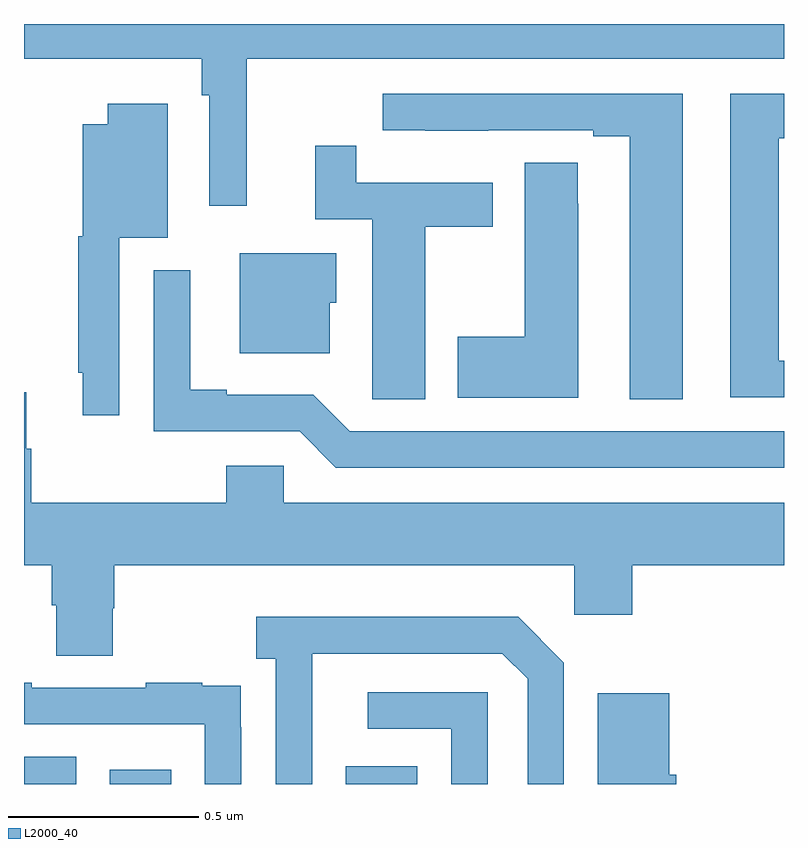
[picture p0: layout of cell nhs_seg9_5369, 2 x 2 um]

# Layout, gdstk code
import gdstk
lib = gdstk.Library(unit=1e-6, precision=1e-09)
def R(c, l, rs):  # rectangles x0, y0, x1, y1
    for r in rs: c.add(gdstk.rectangle(r[:2], r[2:], *l))
def P(c, l, *ps):  # polygons
    for p in ps: c.add(gdstk.Polygon(p, *l))
L2000_40 = (2000, 40)

nhs_seg9_5369 = lib.new_cell('nhs_seg9_5369')
R(nhs_seg9_5369, L2000_40, [(178,1206.5,178.138,1206.572), (178.226,1206.5,178.387,1206.538), (178.847,1206.5,179.035,1206.547)])
P(nhs_seg9_5369, L2000_40, [(178.586,1208.408),(180,1208.408),(180,1208.5),(178,1208.5),(178,1208.408),(178.468,1208.408),(178.468,1208.312),(178.488,1208.312),(178.488,1208.022),(178.586,1208.022)],
  [(180,1207.614),(179.986,1207.614),(179.986,1208.2),(180,1208.2),(180,1208.316),(179.858,1208.316),(179.858,1207.518),(180,1207.518)],
  [(179.734,1208.316),(178.944,1208.316),(178.944,1208.22),(179.056,1208.22),(179.056,1208.219),(179.222,1208.219),(179.222,1208.22),(179.498,1208.22),(179.498,1208.205),(179.594,1208.205),(179.594,1207.513),(179.734,1207.513)],
  [(178.251,1207.937),(178.378,1207.937),(178.378,1208.29),(178.22,1208.29),(178.22,1208.236),(178.154,1208.236),(178.154,1207.941),(178.143,1207.941),(178.143,1207.582),(178.154,1207.582),(178.154,1207.47),(178.251,1207.47)],
  [(179.056,1207.966),(179.233,1207.966),(179.233,1208.082),(178.874,1208.082),(178.874,1208.179),(178.766,1208.179),(178.766,1207.986),(178.916,1207.986),(178.916,1207.624),(178.917,1207.624),(178.917,1207.513),(179.056,1207.513)],
  [(179.458,1208.027),(179.457,1208.027),(179.457,1208.135),(179.318,1208.135),(179.318,1207.677),(179.141,1207.677),(179.141,1207.517),(179.458,1207.517)],
  [(178.804,1207.767),(178.822,1207.767),(178.822,1207.897),(178.568,1207.897),(178.568,1207.634),(178.804,1207.634)],
  [(180,1207.428),(178.857,1207.428),(178.761,1207.524),(178.534,1207.524),(178.534,1207.537),(178.438,1207.537),(178.438,1207.852),(178.341,1207.852),(178.341,1207.428),(178.725,1207.428),(178.821,1207.332),(180,1207.332)],
  [(178.233,1206.963),(178.238,1206.963),(178.238,1207.076),(179.448,1207.076),(179.448,1206.945),(179.6,1206.945),(179.6,1207.076),(180,1207.076),(180,1207.24),(178.683,1207.24),(178.683,1207.338),(178.532,1207.338),(178.532,1207.24),(178.019,1207.24),(178.019,1207.382),(178.006,1207.382),(178.006,1207.531),(178,1207.531),(178,1207.076),(178.073,1207.076),(178.073,1206.97),(178.085,1206.97),(178.085,1206.838),(178.233,1206.838)],
  [(178.758,1206.643),(178.759,1206.643),(178.759,1206.843),(179.259,1206.843),(179.325,1206.777),(179.325,1206.5),(179.421,1206.5),(179.421,1206.819),(179.3,1206.94),(178.611,1206.94),(178.611,1206.83),(178.662,1206.83),(178.662,1206.5),(178.758,1206.5)],
  [(178.572,1206.65),(178.571,1206.65),(178.571,1206.759),(178.469,1206.759),(178.469,1206.766),(178.321,1206.766),(178.321,1206.753),(178.021,1206.753),(178.021,1206.766),(178,1206.766),(178,1206.657),(178.476,1206.657),(178.476,1206.5),(178.572,1206.5)],
  [(179.22,1206.741),(178.905,1206.741),(178.905,1206.645),(179.124,1206.645),(179.124,1206.5),(179.22,1206.5)],
  [(179.717,1206.525),(179.698,1206.525),(179.698,1206.739),(179.51,1206.739),(179.51,1206.5),(179.717,1206.5)])

lib.write_gds('nhs_seg9_5369.gds')
